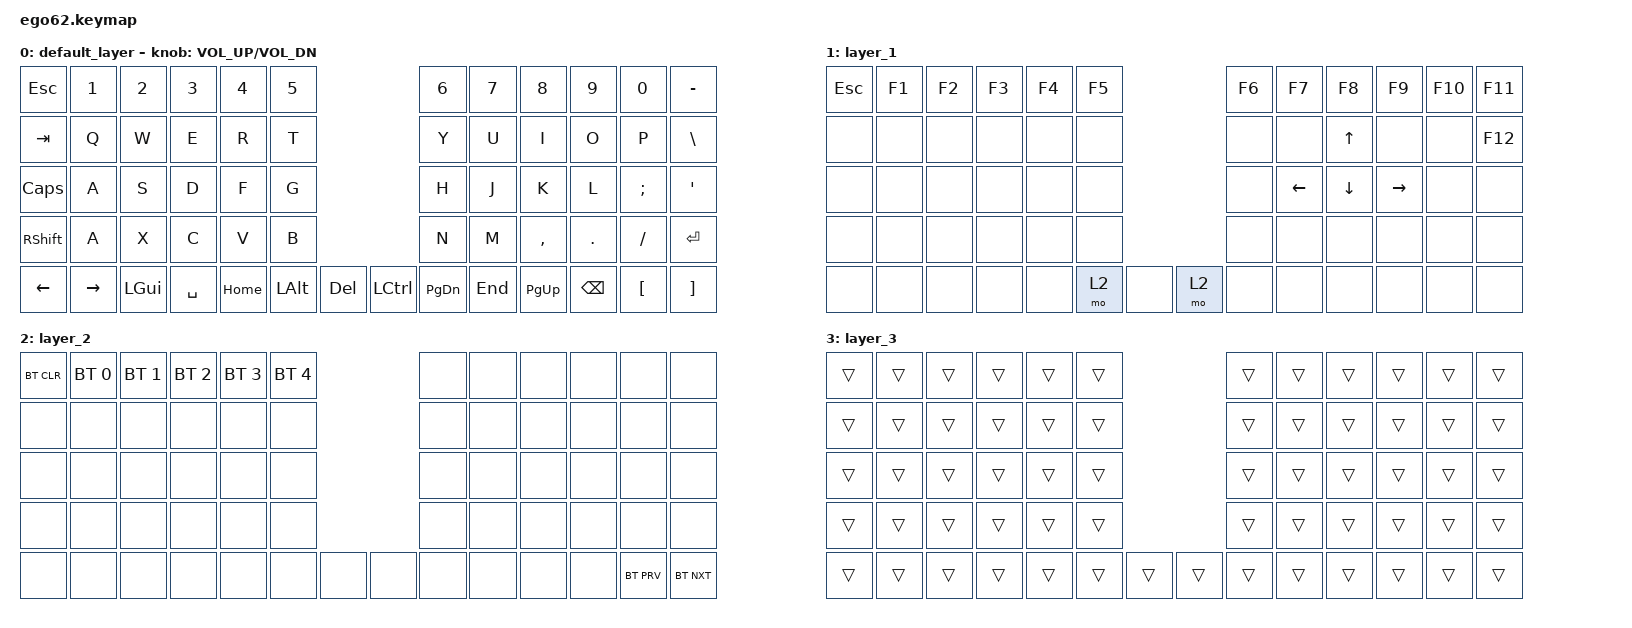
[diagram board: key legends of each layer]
/*
 * Copyright (c) 2020 The ZMK Contributors
 *
 * SPDX-License-Identifier: MIT
 */

#include <behaviors.dtsi>
#include <dt-bindings/zmk/bt.h>
#include <dt-bindings/zmk/keys.h>

/ {
    keymap {
        compatible = "zmk,keymap";

        default_layer {
            bindings = <
&kp ESC          &kp NUMBER_1  &kp N2        &kp NUMBER_3  &kp N4    &kp N5                               &kp N6         &kp NUMBER_7  &kp NUMBER_8  &kp NUMBER_9   &kp NUMBER_0      &kp MINUS
&kp TAB          &kp Q         &kp W         &kp E         &kp R     &kp T                                &kp Y          &kp U         &kp I         &kp O          &kp P             &kp BACKSLASH
&kp CAPSLOCK     &kp A         &kp S         &kp D         &kp F     &kp G                                &kp H          &kp J         &kp K         &kp L          &kp SEMICOLON     &kp SQT
&kp RIGHT_SHIFT  &kp A         &kp X         &kp C         &kp V     &kp B                                &kp N          &kp M         &kp COMMA     &kp PERIOD     &kp SLASH         &kp ENTER
&kp LEFT         &kp RIGHT     &kp LEFT_GUI  &kp SPACE     &kp HOME  &kp LEFT_ALT  &kp DELETE  &kp LCTRL  &kp PAGE_DOWN  &kp END       &kp PAGE_UP   &kp BACKSPACE  &kp LEFT_BRACKET  &kp RIGHT_BRACKET
            >;

            sensor-bindings = <&inc_dec_kp C_VOL_UP C_VOL_DN>;
        };

        layer_1 {
            bindings = <
&kp ESC  &kp F1  &kp F2  &kp F3  &kp F4  &kp F5                &kp F6  &kp F7    &kp F8    &kp F9     &kp F10  &kp F11
&none    &none   &none   &none   &none   &none                 &none   &none     &kp UP    &none      &none    &kp F12
&none    &none   &none   &none   &none   &none                 &none   &kp LEFT  &kp DOWN  &kp RIGHT  &none    &none
&none    &none   &none   &none   &none   &none                 &none   &none     &none     &none      &none    &none
&none    &none   &none   &none   &none   &mo 2   &none  &mo 2  &none   &none     &none     &none      &none    &none
            >;
        };

        layer_2 {
            bindings = <
&bt BT_CLR  &bt BT_SEL 0  &bt BT_SEL 1  &bt BT_SEL 2  &bt BT_SEL 3  &bt BT_SEL 4                &none  &none  &none  &none  &none       &none
&none       &none         &none         &none         &none         &none                       &none  &none  &none  &none  &none       &none
&none       &none         &none         &none         &none         &none                       &none  &none  &none  &none  &none       &none
&none       &none         &none         &none         &none         &none                       &none  &none  &none  &none  &none       &none
&none       &none         &none         &none         &none         &none         &none  &none  &none  &none  &none  &none  &bt BT_PRV  &bt BT_NXT
            >;
        };

        layer_3 {
            bindings = <
&trans  &trans  &trans  &trans  &trans  &trans                  &trans  &trans  &trans  &trans  &trans  &trans
&trans  &trans  &trans  &trans  &trans  &trans                  &trans  &trans  &trans  &trans  &trans  &trans
&trans  &trans  &trans  &trans  &trans  &trans                  &trans  &trans  &trans  &trans  &trans  &trans
&trans  &trans  &trans  &trans  &trans  &trans                  &trans  &trans  &trans  &trans  &trans  &trans
&trans  &trans  &trans  &trans  &trans  &trans  &trans  &trans  &trans  &trans  &trans  &trans  &trans  &trans
            >;
        };
    };
};
